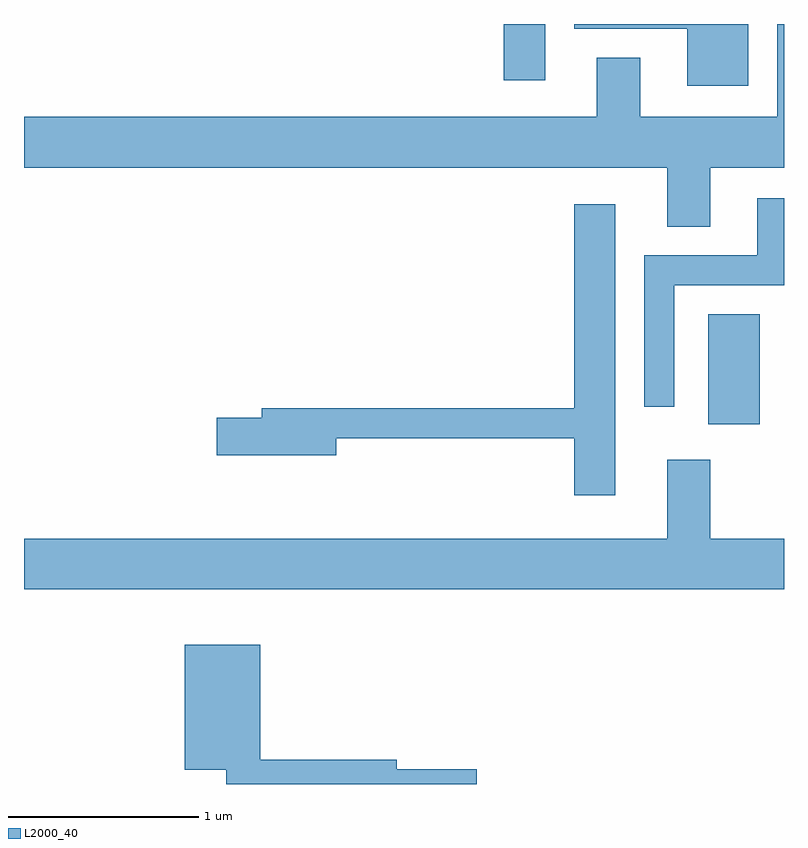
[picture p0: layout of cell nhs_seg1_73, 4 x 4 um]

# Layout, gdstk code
import gdstk
lib = gdstk.Library(unit=1e-6, precision=1e-09)
def R(c, l, rs):  # rectangles x0, y0, x1, y1
    for r in rs: c.add(gdstk.rectangle(r[:2], r[2:], *l))
def P(c, l, *ps):  # polygons
    for p in ps: c.add(gdstk.Polygon(p, *l))
L2000_40 = (2000, 40)

nhs_seg1_73 = lib.new_cell('nhs_seg1_73')
R(nhs_seg1_73, L2000_40, [(191.211,851.606,191.484,852.184), (190.136,853.416,190.354,853.712)])
P(nhs_seg1_73, L2000_40, [(191.224,852.956),(191.611,852.956),(191.611,853.712),(191.576,853.712),(191.576,853.224),(190.854,853.224),(190.854,853.534),(190.626,853.534),(190.626,853.224),(187.611,853.224),(187.611,852.956),(190.996,852.956),(190.996,852.646),(191.224,852.646)],
  [(191.424,853.712),(190.506,853.712),(190.506,853.686),(191.101,853.686),(191.101,853.386),(191.424,853.386)],
  [(191.034,852.336),(191.611,852.336),(191.611,852.794),(191.471,852.794),(191.471,852.494),(190.876,852.494),(190.876,851.698),(191.034,851.698)],
  [(190.724,852.764),(190.506,852.764),(190.506,851.689),(188.861,851.689),(188.861,851.639),(188.626,851.639),(188.626,851.441),(189.254,851.441),(189.254,851.531),(190.506,851.531),(190.506,851.231),(190.724,851.231)],
  [(191.611,851.004),(191.224,851.004),(191.224,851.419),(190.996,851.419),(190.996,851.004),(187.611,851.004),(187.611,850.736),(191.611,850.736)],
  [(189.994,849.789),(189.574,849.789),(189.574,849.839),(188.854,849.839),(188.854,850.444),(188.456,850.444),(188.456,849.786),(188.676,849.786),(188.676,849.712),(189.994,849.712)])

lib.write_gds('nhs_seg1_73.gds')
